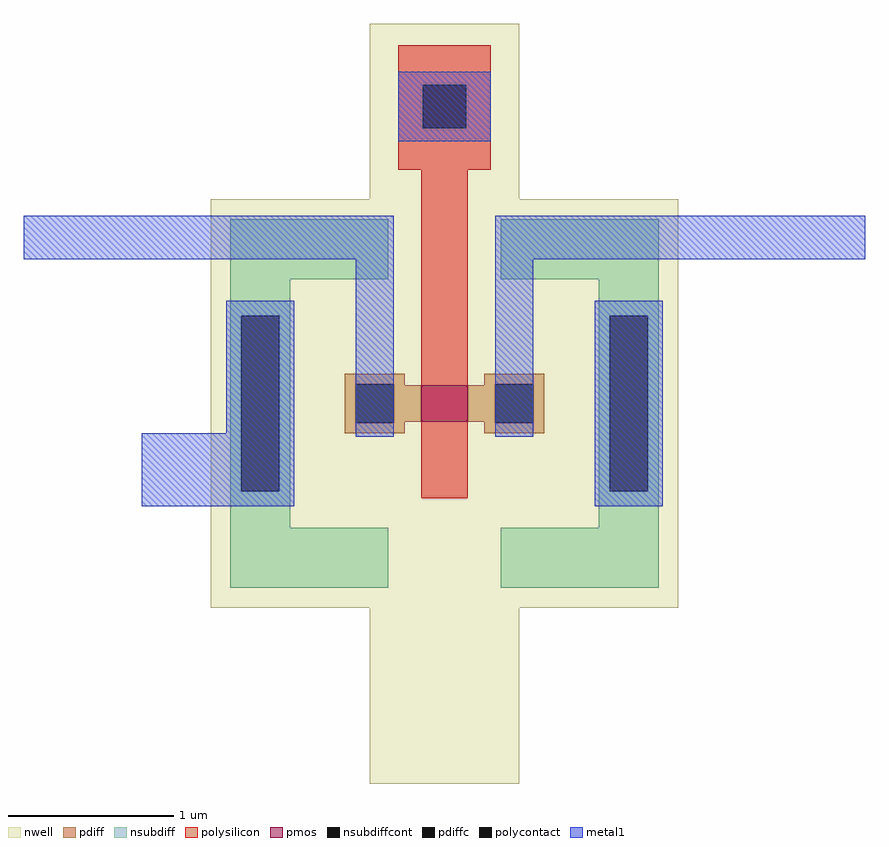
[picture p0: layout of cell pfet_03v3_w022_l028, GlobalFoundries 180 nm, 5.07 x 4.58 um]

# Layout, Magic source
magic
tech gf180mcuD
magscale 1 10
<< nwell >>
rect -282 -246 282 246
rect -90 22 90 458
rect -90 -458 90 -22
<< pmos >>
rect -28 -22 28 22
<< pdiff >>
rect -120 23 -48 36
rect -120 -23 -107 23
rect -61 22 -48 23
rect 48 23 120 36
rect 48 22 61 23
rect -61 -22 -28 22
rect 28 -22 61 22
rect -61 -23 -48 -22
rect -120 -36 -48 -23
rect 48 -23 61 -22
rect 107 -23 120 23
rect 48 -36 120 -23
<< pdiffc >>
rect -107 -23 -61 23
rect 61 -23 107 23
<< nsubdiff >>
rect -258 106 -186 150
rect -258 -106 -245 106
rect -199 -106 -186 106
rect 186 106 258 150
rect -258 -150 -186 -106
rect 186 -106 199 106
rect 245 -106 258 106
rect 186 -150 258 -106
rect -258 150 -68 222
rect 68 150 258 222
rect -258 -222 -68 -150
rect 68 -222 258 -150
<< nsubdiffcont >>
rect -245 -106 -199 106
rect 199 -106 245 106
<< polysilicon >>
rect -28 -114 28 292
rect -56 282 56 432
<< polycontact >>
rect -26 332 26 384
<< metal1 >>
rect -56 316 56 400
rect -107 -40 -61 174
rect -507 174 -61 226
rect 61 -40 107 174
rect 61 174 507 226
rect -263 -124 -181 124
rect 181 -124 263 124
rect -365 -124 -181 -36
<< properties >>
<< end >>
<< via1 >>
rect -26 332 26 384
<< metal2 >>
rect -52 322 52 406
<< properties >>
<< end >>
